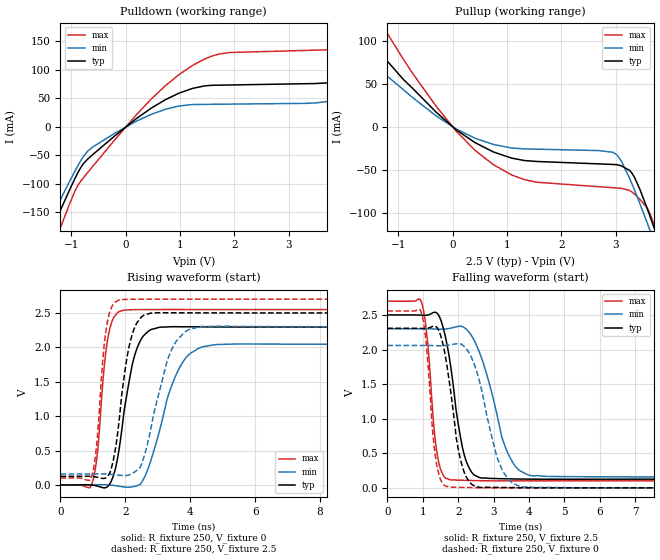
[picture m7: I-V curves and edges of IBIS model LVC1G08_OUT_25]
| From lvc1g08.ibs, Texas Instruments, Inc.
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[Model]   LVC1G08_OUT_25
Model_type  Output
Vref =   0.0
Rref =   500
Cref =   30p
Vmeas =   1.25
| variable   typ   min   max
C_comp   6.96pF   3.24pF   10.58pF
| C_pullup   6.23pF   3.24pF   8.27pF
| C_pulldown   7.69pF   3.56pF   10.58pF
[Temperature Range]   40   100   -40
| Ambient temperature   25   85   -40
[Voltage range]   2.5   2.3   2.7
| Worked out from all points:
|   slope of the pulldown table from 0 to 0.375 V, typ, clamps not added: 13.9 ohm
|   slope of the pullup table from 0 to 0.375 V, typ, clamps not added: 22 ohm
|   rising waveform, R_fixture 250, V_fixture 0: 20-80 % time 474ps typ, 775ps min, 280ps max; typ from 0 V to 2.29 V
|   rising waveform, R_fixture 250, V_fixture 2.5: 20-80 % time 403ps typ, 663ps min, 262ps max; typ from 0.125 V to 2.5 V
|   falling waveform, R_fixture 250, V_fixture 2.5: 20-80 % time 411ps typ, 672ps min, 248ps max; typ from 2.5 V to 0.125 V
|   falling waveform, R_fixture 250, V_fixture 0: 20-80 % time 384ps typ, 575ps min, 238ps max; typ from 2.31 V to 0 V
[Pulldown]
| LVC1G08_OUT_25
|   Voltage   I(typ)   I(min)   I(max)
-5V       -964.5mA   -872.8mA   -1.115A
-1.565V   -226.1mA   -199.4mA   -269.6mA
-1.175V   -140.9mA   -122.9mA   -170.6mA
-700mV    -56.58mA   -42.46mA   -80.14mA
-200mV    -15.69mA   -11.1mA    -22.59mA
725mV     47.53mA    30.83mA    71.89mA
1.715V    73.33mA    39.84mA    128mA
3.965V    81.25mA    49.39mA    136.9mA
5.285V    133.6mA    89.67mA    197mA
5.95V     165.9mA    44.61mA    248.6mA
6.55V     82.98mA    45.06mA    293.4mA
10V       87.5mA     48.06mA    154.1mA
[Pullup]
| LVC1G08_OUT_25
|   Voltage   I(typ)   I(min)   I(max)
-5V       437mA      352.6mA    602.5mA
-2.275V   165.5mA    130.1mA    232.1mA
-1.71V    117mA      91.04mA    165mA
-1.21V    77.47mA    59.63mA    110mA
-300mV    17.08mA    12.74mA    23.93mA
750mV     -29.15mA   -20.41mA   -44.03mA
1.545V    -40.27mA   -25.92mA   -64.48mA
2.95V     -43.75mA   -29.57mA   -70.87mA
3.3V      -53.93mA   -66.55mA   -75.91mA
3.635V    -104.8mA   -121.4mA   -101.8mA
3.725V    -121mA     -136.9mA   -117.4mA
10V       -1.408A    -1.338A    -1.542A
[Ramp]
| LVC1G08_OUT_25
| variable   typ   min   max
dV/dt_r   1.40/5.11E-10   1.25/8.34E-10   1.56/2.88E-10
dV/dt_f   1.45/4.26E-10   1.31/7.24E-10   1.58/2.57E-10
R_load = 250
[Rising Waveform]
| LVC1G08_OUT_25
R_fixture =   250
C_fixture =   0
L_fixture =   0
V_fixture =   0
V_fixture_min = 0
V_fixture_max = 0
|   Time   V(typ)   V(min)   V(max)
0s        -22.77uV   -32.1uV    -10.04uV
970ps     -1.781mV   1.433mV    17.68mV
1.135ns   -15.69mV   3.052mV    444.1mV
1.48ns    -10.69mV   1.54mV     2.185V
1.99ns    1.157V     -31.24mV   2.542V
2.3ns     1.903V     -18.93mV   2.547V
2.685ns   2.226V     217.8mV    2.549V
3.685ns   2.299V     1.717V     2.55V
4.795ns   2.296V     2.041V     2.549V
50ns      2.295V     2.042V     2.549V
[Rising Waveform]
| LVC1G08_OUT_25
R_fixture =   250
C_fixture =   0
L_fixture =   0
V_fixture =   2.5
V_fixture_min = 2.3
V_fixture_max = 2.7
|   Time   V(typ)   V(min)   V(max)
0s        125.2mV    158.6mV    101.1mV
960ps     123.6mV    159.8mV    123.5mV
1.105ns   114.6mV    160.8mV    536.6mV
1.435ns   116.9mV    159mV      2.338V
1.685ns   498.3mV    147.5mV    2.657V
1.94ns    1.495V     137.8mV    2.695V
2.515ns   2.449V     324.6mV    2.7V
3.4ns     2.502V     1.94V      2.701V
4.35ns    2.501V     2.303V     2.7V
50ns      2.5V       2.3V       2.7V
[Falling Waveform]
| LVC1G08_OUT_25
R_fixture =   250
C_fixture =   0
L_fixture =   0
V_fixture =   2.5
V_fixture_min = 2.3
V_fixture_max = 2.7
|   Time   V(typ)   V(min)   V(max)
0s        2.5V       2.3V       2.7V
965ps     2.497V     2.301V     2.685V
1.125ns   2.498V     2.3V       2.165V
1.41ns    2.522V     2.295V     479.1mV
1.805ns   1.696V     2.311V     113.6mV
2.115ns   596.6mV    2.332V     109.8mV
2.39ns    218.5mV    2.189V     105.6mV
3.39ns    130.2mV    516.2mV    100.7mV
4.09ns    125.5mV    173.8mV    100.8mV
50ns      125.3mV    158.7mV    101.2mV
[Falling Waveform]
| LVC1G08_OUT_25
R_fixture =   250
C_fixture =   0
L_fixture =   0
V_fixture =   0
V_fixture_min = 0
V_fixture_max = 0
|   Time   V(typ)   V(min)   V(max)
0s        2.307V     2.059V     2.557V
955ps     2.305V     2.059V     2.543V
1.095ns   2.305V     2.059V     2.095V
1.39ns    2.325V     2.056V     345.3mV
1.81ns    1.31V      2.072V     9.063mV
2.035ns   476mV      2.083V     7.356mV
2.33ns    77.66mV    1.931V     4.433mV
3.17ns    5.445mV    343.3mV    -129uV
3.835ns   1.184mV    11.68mV    -319.4uV
50ns      -8.661uV   -12.38uV   1.934uV
